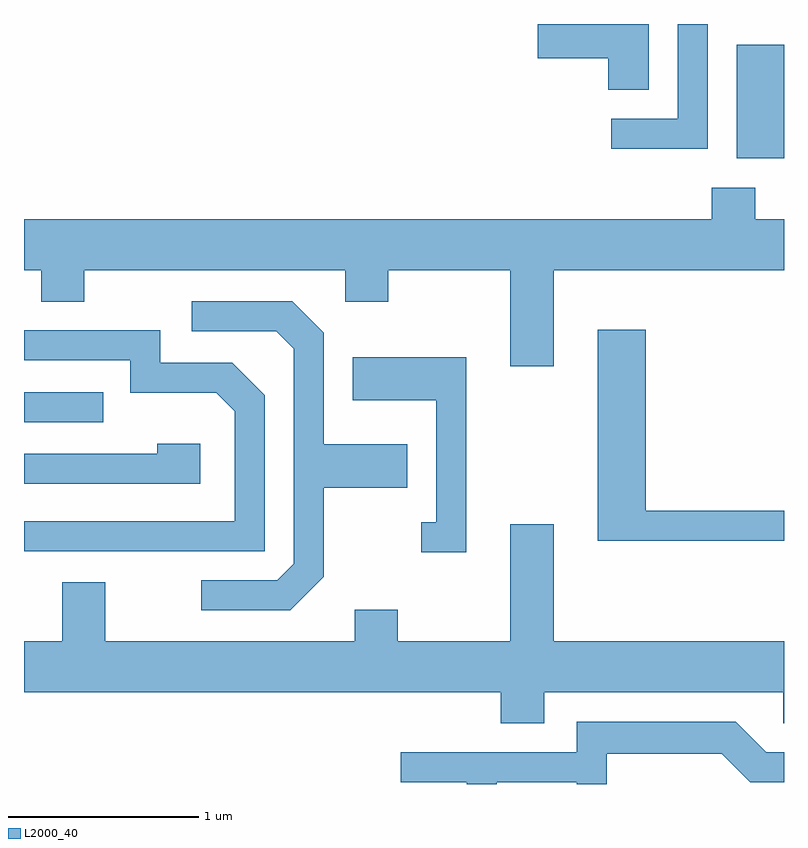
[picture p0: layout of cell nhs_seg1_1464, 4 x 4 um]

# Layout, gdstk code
import gdstk
lib = gdstk.Library(unit=1e-6, precision=1e-09)
def R(c, l, rs):  # rectangles x0, y0, x1, y1
    for r in rs: c.add(gdstk.rectangle(r[:2], r[2:], *l))
def P(c, l, *ps):  # polygons
    for p in ps: c.add(gdstk.Polygon(p, *l))
L2000_40 = (2000, 40)

nhs_seg1_1464 = lib.new_cell('nhs_seg1_1464')
R(nhs_seg1_1464, L2000_40, [(229.611,947.616,230.028,947.774), (233.361,949.006,233.611,949.604)])
P(nhs_seg1_1464, L2000_40, [(233.209,949.712),(233.051,949.712),(233.051,949.214),(232.703,949.214),(232.703,949.056),(233.209,949.056)],
  [(232.899,949.712),(232.316,949.712),(232.316,949.531),(232.686,949.531),(232.686,949.366),(232.899,949.366)],
  [(232.399,948.416),(233.611,948.416),(233.611,948.684),(233.459,948.684),(233.459,948.849),(233.231,948.849),(233.231,948.684),(229.611,948.684),(229.611,948.416),(229.701,948.416),(229.701,948.251),(229.929,948.251),(229.929,948.416),(231.301,948.416),(231.301,948.251),(231.529,948.251),(231.529,948.416),(232.171,948.416),(232.171,947.911),(232.399,947.911)],
  [(231.189,946.804),(231.189,947.271),(231.629,947.271),(231.629,947.499),(231.189,947.499),(231.189,948.087),(231.022,948.254),(230.493,948.254),(230.493,948.096),(230.939,948.096),(231.031,948.004),(231.031,946.872),(230.944,946.784),(230.543,946.784),(230.543,946.626),(231.012,946.626)],
  [(233.611,947.149),(232.884,947.149),(232.884,948.104),(232.631,948.104),(232.631,946.991),(233.611,946.991)],
  [(230.879,947.757),(230.707,947.929),(230.329,947.929),(230.329,948.099),(229.611,948.099),(229.611,947.941),(230.171,947.941),(230.171,947.771),(230.624,947.771),(230.721,947.674),(230.721,947.094),(229.611,947.094),(229.611,946.936),(230.879,946.936)],
  [(231.939,947.959),(231.341,947.959),(231.341,947.731),(231.781,947.731),(231.781,947.089),(231.703,947.089),(231.703,946.931),(231.939,946.931)],
  [(230.539,947.504),(230.311,947.504),(230.311,947.449),(229.611,947.449),(229.611,947.291),(230.539,947.291)],
  [(232.349,946.196),(233.606,946.196),(233.606,946.031),(233.611,946.031),(233.611,946.464),(232.399,946.464),(232.399,947.079),(232.171,947.079),(232.171,946.464),(231.579,946.464),(231.579,946.629),(231.351,946.629),(231.351,946.464),(230.039,946.464),(230.039,946.774),(229.811,946.774),(229.811,946.464),(229.611,946.464),(229.611,946.196),(232.121,946.196),(232.121,946.031),(232.349,946.031)],
  [(232.099,945.721),(232.521,945.721),(232.521,945.712),(232.679,945.712),(232.679,945.871),(233.284,945.871),(233.434,945.721),(233.611,945.721),(233.611,945.879),(233.517,945.879),(233.357,946.039),(232.521,946.039),(232.521,945.879),(231.593,945.879),(231.593,945.721),(231.941,945.721),(231.941,945.712),(232.099,945.712)])

lib.write_gds('nhs_seg1_1464.gds')
